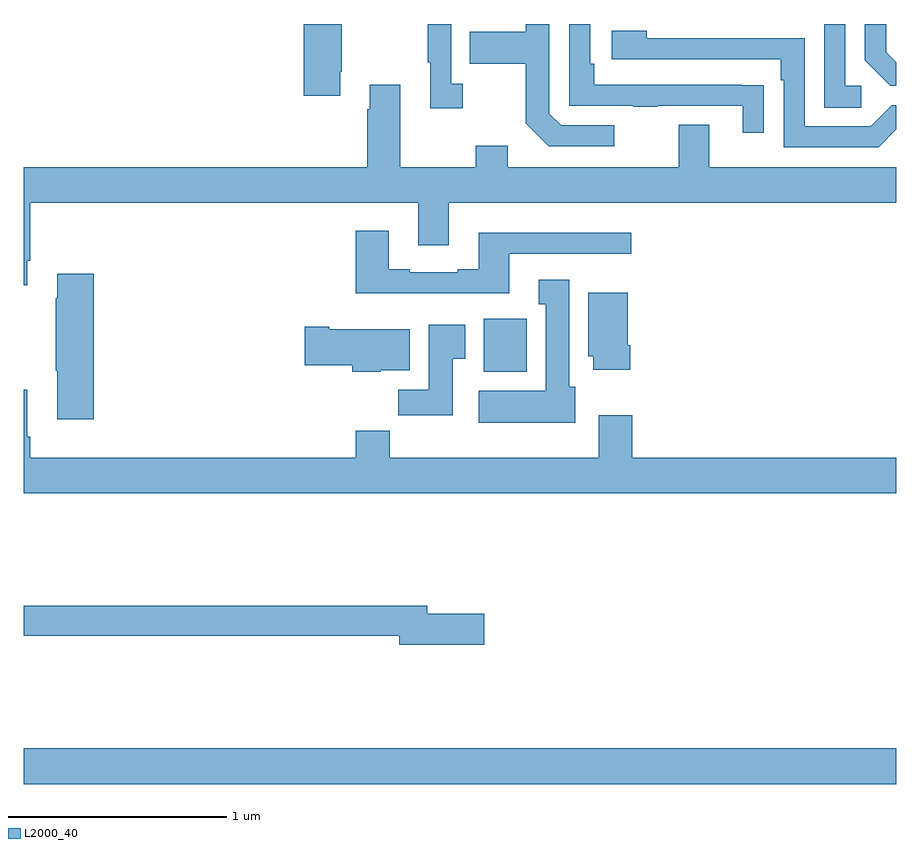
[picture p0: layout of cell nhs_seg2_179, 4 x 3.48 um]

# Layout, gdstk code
import gdstk
lib = gdstk.Library(unit=1e-6, precision=1e-09)
def R(c, l, rs):  # rectangles x0, y0, x1, y1
    for r in rs: c.add(gdstk.rectangle(r[:2], r[2:], *l))
def P(c, l, *ps):  # polygons
    for p in ps: c.add(gdstk.Polygon(p, *l))
L2000_40 = (2000, 40)

nhs_seg2_179 = lib.new_cell('nhs_seg2_179')
R(nhs_seg2_179, L2000_40, [(119,634.316,123,634.48), (121.109,636.206,121.306,636.448)])
P(nhs_seg2_179, L2000_40, [(121.012,637.526),(120.96,637.526),(120.96,637.8),(120.852,637.8),(120.852,637.625),(120.863,637.625),(120.863,637.413),(121.012,637.413)],
  [(123,637.624),(122.953,637.671),(122.953,637.8),(122.856,637.8),(122.856,637.634),(122.972,637.518),(123,637.518)],
  [(122.393,637.52),(122.291,637.52),(122.291,637.521),(121.616,637.521),(121.616,637.618),(121.596,637.618),(121.596,637.8),(121.5,637.8),(121.5,637.425),(121.795,637.425),(121.795,637.42),(121.907,637.42),(121.907,637.425),(122.297,637.425),(122.297,637.302),(122.393,637.302)],
  [(120.451,637.582),(120.459,637.582),(120.459,637.8),(120.284,637.8),(120.284,637.47),(120.451,637.47)],
  [(122.839,637.518),(122.766,637.518),(122.766,637.8),(122.67,637.8),(122.67,637.417),(122.839,637.417)],
  [(121.708,637.335),(121.464,637.335),(121.41,637.389),(121.41,637.8),(121.302,637.8),(121.302,637.765),(121.045,637.765),(121.045,637.618),(121.302,637.618),(121.302,637.345),(121.407,637.239),(121.708,637.239)],
  [(123,637.317),(123,637.428),(122.979,637.428),(122.883,637.332),(122.58,637.332),(122.58,637.734),(121.856,637.734),(121.856,637.768),(121.695,637.768),(121.695,637.638),(122.471,637.638),(122.471,637.541),(122.484,637.541),(122.484,637.236),(122.919,637.236)],
  [(119.017,636.715),(119.03,636.715),(119.03,636.98),(120.809,636.98),(120.809,636.786),(120.949,636.786),(120.949,636.98),(123,636.98),(123,637.144),(122.143,637.144),(122.143,637.339),(122.003,637.339),(122.003,637.144),(121.219,637.144),(121.219,637.243),(121.072,637.243),(121.072,637.144),(120.727,637.144),(120.727,637.522),(120.587,637.522),(120.587,637.409),(120.575,637.409),(120.575,637.144),(119,637.144),(119,636.603),(119.017,636.603)],
  [(121.225,636.747),(121.786,636.747),(121.786,636.844),(121.085,636.844),(121.085,636.676),(120.989,636.676),(120.989,636.663),(120.769,636.663),(120.769,636.676),(120.673,636.676),(120.673,636.853),(120.521,636.853),(120.521,636.566),(121.225,636.566)],
  [(119.321,636.655),(119.153,636.655),(119.153,636.542),(119.146,636.542),(119.146,636.211),(119.153,636.211),(119.153,635.988),(119.321,635.988)],
  [(121.528,636.138),(121.501,636.138),(121.501,636.628),(121.361,636.628),(121.361,636.515),(121.394,636.515),(121.394,636.118),(121.085,636.118),(121.085,635.972),(121.528,635.972)],
  [(121.781,636.328),(121.768,636.328),(121.768,636.568),(121.589,636.568),(121.589,636.276),(121.61,636.276),(121.61,636.216),(121.781,636.216)],
  [(120.967,636.265),(121.024,636.265),(121.024,636.421),(120.857,636.421),(120.857,636.124),(120.718,636.124),(120.718,636.006),(120.967,636.006)],
  [(120.636,636.212),(120.769,636.212),(120.769,636.4),(120.4,636.4),(120.4,636.413),(120.288,636.413),(120.288,636.235),(120.506,636.235),(120.506,636.206),(120.636,636.206)],
  [(123,635.812),(121.79,635.812),(121.79,636.007),(121.637,636.007),(121.637,635.812),(120.677,635.812),(120.677,635.936),(120.521,635.936),(120.521,635.812),(119.03,635.812),(119.03,635.908),(119.017,635.908),(119.017,636.124),(119,636.124),(119,635.648),(123,635.648)],
  [(121.111,635.096),(120.85,635.096),(120.85,635.132),(119,635.132),(119,634.996),(120.722,634.996),(120.722,634.954),(121.111,634.954)])

lib.write_gds('nhs_seg2_179.gds')
